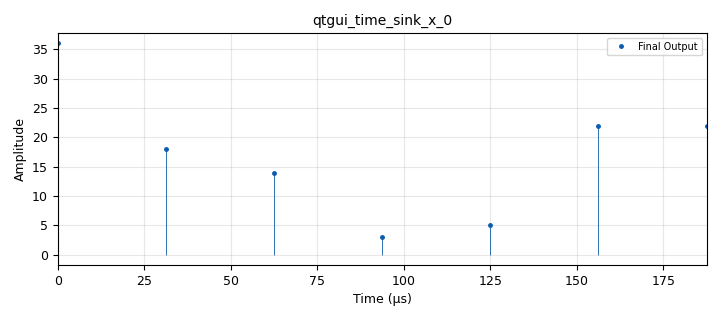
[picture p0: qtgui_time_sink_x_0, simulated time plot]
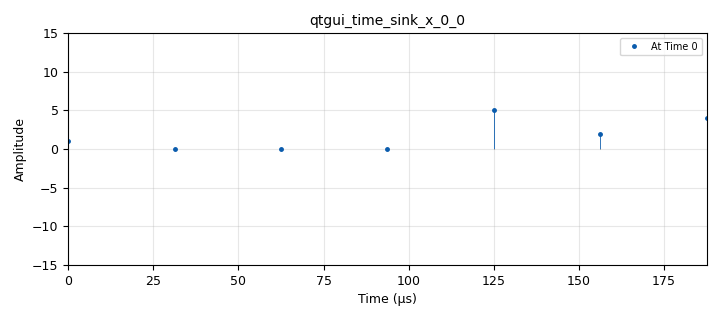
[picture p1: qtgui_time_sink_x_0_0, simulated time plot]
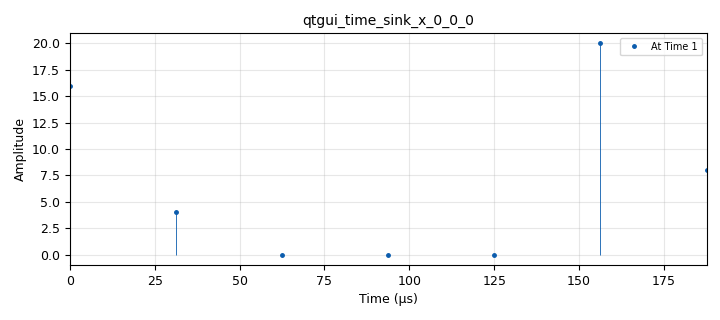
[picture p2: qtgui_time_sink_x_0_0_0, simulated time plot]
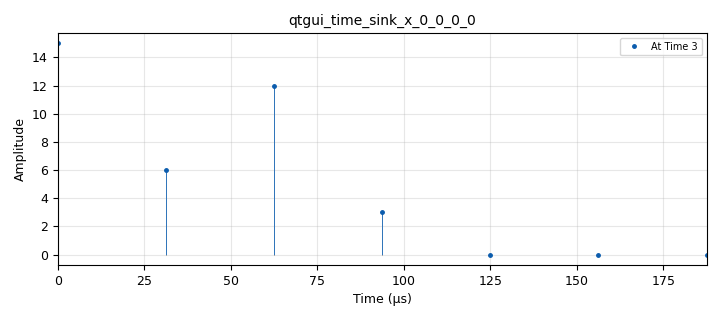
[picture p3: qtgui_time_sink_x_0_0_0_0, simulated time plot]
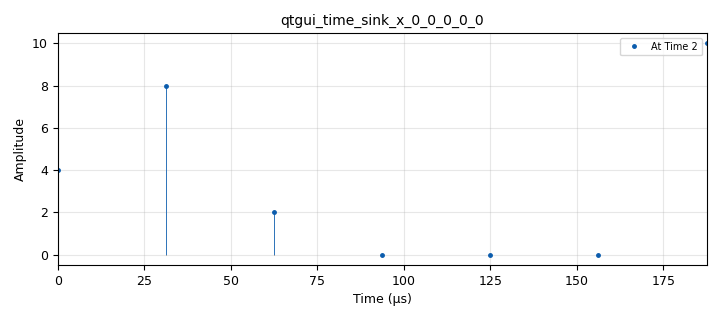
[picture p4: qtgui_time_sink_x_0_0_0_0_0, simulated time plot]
options:
  parameters:
    author: Qasim Chaudhari
    generate_options: qt_gui
    id: convolution
    output_language: python
    title: Convolution
  states: {}

blocks:
- name: input_signal
  id: variable
  parameters:
    value: (1,4,2,3)
  states: {}
- name: nDisplay
  id: variable
  parameters:
    value: '7'
  states: {}
- name: samp_rate
  id: variable
  parameters:
    value: '32000'
  states: {}
- name: blocks_add_xx_0
  id: blocks_add_xx
  parameters:
    num_inputs: '4'
    type: float
  states: {}
- name: blocks_delay_0
  id: blocks_delay
  parameters:
    delay: '1'
    type: float
  states: {}
- name: blocks_delay_0_0
  id: blocks_delay
  parameters:
    delay: '1'
    type: float
  states: {}
- name: blocks_delay_0_0_0_0
  id: blocks_delay
  parameters:
    delay: '1'
    type: float
  states: {}
- name: blocks_multiply_const_vxx_0
  id: blocks_multiply_const_vxx
  parameters:
    const: input_signal[0]
    type: float
  states: {}
- name: blocks_multiply_const_vxx_0_0
  id: blocks_multiply_const_vxx
  parameters:
    const: input_signal[1]
    type: float
  states: {}
- name: blocks_multiply_const_vxx_0_0_0
  id: blocks_multiply_const_vxx
  parameters:
    const: input_signal[2]
    type: float
  states: {}
- name: blocks_multiply_const_vxx_0_0_0_0_0
  id: blocks_multiply_const_vxx
  parameters:
    const: input_signal[3]
    type: float
  states: {}
- name: blocks_throttle_0
  id: blocks_throttle
  parameters:
    samples_per_second: samp_rate
    type: float
  states: {}
- name: blocks_vector_source_x_0
  id: blocks_vector_source_x
  parameters:
    repeat: 'True'
    type: float
    vector: (5,2,4,1,0,0,0)
  states: {}
- name: qtgui_time_sink_x_0
  id: qtgui_time_sink_x
  parameters:
    autoscale: 'True'
    entags: 'False'
    grid: 'True'
    gui_hint: 4,0,1,1
    label1: Final Output
    marker1: '0'
    name: ''
    size: nDisplay
    srate: samp_rate
    stemplot: 'True'
    type: float
    ymax: '15'
    ymin: '-15'
  states: {}
- name: qtgui_time_sink_x_0_0
  id: qtgui_time_sink_x
  parameters:
    entags: 'False'
    grid: 'True'
    gui_hint: 0,0,1,1
    label1: At Time 0
    marker1: '0'
    name: ''
    size: nDisplay
    srate: samp_rate
    stemplot: 'True'
    type: float
    ymax: '15'
    ymin: '-15'
  states: {}
- name: qtgui_time_sink_x_0_0_0
  id: qtgui_time_sink_x
  parameters:
    autoscale: 'True'
    entags: 'False'
    grid: 'True'
    gui_hint: 1,0,1,1
    label1: At Time 1
    marker1: '0'
    name: ''
    size: nDisplay
    srate: samp_rate
    stemplot: 'True'
    type: float
    ymax: '15'
    ymin: '-15'
  states: {}
- name: qtgui_time_sink_x_0_0_0_0
  id: qtgui_time_sink_x
  parameters:
    autoscale: 'True'
    entags: 'False'
    grid: 'True'
    gui_hint: 3,0,1,1
    label1: At Time 3
    marker1: '0'
    name: ''
    size: nDisplay
    srate: samp_rate
    stemplot: 'True'
    type: float
    ymax: '15'
    ymin: '-15'
  states: {}
- name: qtgui_time_sink_x_0_0_0_0_0
  id: qtgui_time_sink_x
  parameters:
    autoscale: 'True'
    entags: 'False'
    grid: 'True'
    gui_hint: 2,0,1,1
    label1: At Time 2
    marker1: '0'
    name: ''
    size: nDisplay
    srate: samp_rate
    stemplot: 'True'
    type: float
    ymax: '15'
    ymin: '-15'
  states: {}

connections:
- [blocks_add_xx_0, '0', qtgui_time_sink_x_0, '0']
- [blocks_delay_0, '0', blocks_delay_0_0, '0']
- [blocks_delay_0, '0', blocks_multiply_const_vxx_0_0, '0']
- [blocks_delay_0_0, '0', blocks_delay_0_0_0_0, '0']
- [blocks_delay_0_0, '0', blocks_multiply_const_vxx_0_0_0, '0']
- [blocks_delay_0_0_0_0, '0', blocks_multiply_const_vxx_0_0_0_0_0, '0']
- [blocks_multiply_const_vxx_0, '0', blocks_add_xx_0, '0']
- [blocks_multiply_const_vxx_0, '0', qtgui_time_sink_x_0_0, '0']
- [blocks_multiply_const_vxx_0_0, '0', blocks_add_xx_0, '1']
- [blocks_multiply_const_vxx_0_0, '0', qtgui_time_sink_x_0_0_0, '0']
- [blocks_multiply_const_vxx_0_0_0, '0', blocks_add_xx_0, '2']
- [blocks_multiply_const_vxx_0_0_0, '0', qtgui_time_sink_x_0_0_0_0_0, '0']
- [blocks_multiply_const_vxx_0_0_0_0_0, '0', blocks_add_xx_0, '3']
- [blocks_multiply_const_vxx_0_0_0_0_0, '0', qtgui_time_sink_x_0_0_0_0, '0']
- [blocks_throttle_0, '0', blocks_delay_0, '0']
- [blocks_throttle_0, '0', blocks_multiply_const_vxx_0, '0']
- [blocks_vector_source_x_0, '0', blocks_throttle_0, '0']

metadata:
  file_format: 1
